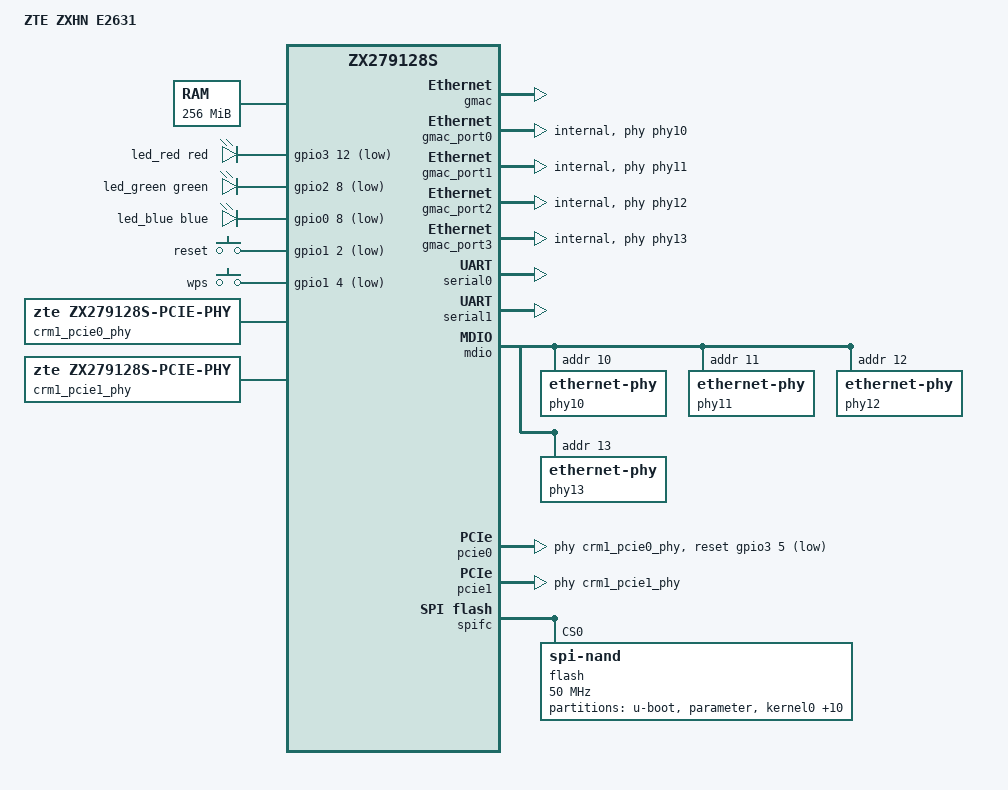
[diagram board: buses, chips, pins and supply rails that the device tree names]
// SPDX-License-Identifier: GPL-2.0-only OR BSD-2-Clause
/*
 * ZTE ZXHN E2631 (a.k.a. 巡天 AX3000): dual-band Wi-Fi 6 router on the
 * Sanechips ZX279128(S/R) SoC, 256 MiB DDR, 128 MiB SPI NAND, one WAN and
 * three LAN ports, all served by the four integrated GbE PHYs.
 *
 * Hardware facts below were read off a live board (2026-10-13) and are marked
 * with where they came from. Values still needing confirmation on first boot
 * are called out in comments - do not treat them as measured.
 */

/dts-v1/;

#include "zte/zx279128s.dtsi"
#include <dt-bindings/gpio/gpio.h>
#include <dt-bindings/input/input.h>
#include <dt-bindings/leds/common.h>

/ {
	model = "ZTE ZXHN E2631";
	compatible = "zte,zxhn-e2631", "zte,zx279128s";

	aliases {
		ethernet0 = &gmac;
		serial0 = &serial0;
		serial1 = &serial1;
		led-boot = &led_red;
		led-failsafe = &led_red;
		led-running = &led_green;
		led-upgrade = &led_blue;
	};

	chosen {
		stdout-path = "serial0:115200n8";
	};

	memory@40000000 {
		device_type = "memory";
		/* /proc/capability/boardtype: totalram 256M; vendor cmdline mem=256M */
		reg = <0x40000000 0x10000000>;
	};


	leds {
		compatible = "gpio-leds";

		/*
		 * One tri-colour lamp, three channels, on flat GPIO 8 / 40 / 60
		 * (/proc/zte/ledkey_m/led LedId 0x32 / 0x64 / 0x128; flat =
		 * controller*16 + line, six banks of 16 lines, bases 512..592 confirmed in
		 * our own kernel).
		 *
		 * The colours were measured, not inferred: each channel was blinked on its
		 * own for twelve seconds with this image running while the panel was
		 * watched. 40 came out green, 60 a warm yellow-green (the red die, with the
		 * strong green bleeding through the diffuser), 8 cyan-blue:
		 *
		 *   flat 40 = green    flat 60 = red    flat 8 = blue
		 *
		 * All three are active-low. Writing brightness=1 to the green channel left
		 * the panel dark, and the other two lit while the LED class held them low,
		 * which also matches the sibling H3600 (eleven LEDs, all active-low). The
		 * vendor's CurrentOnOff column is its own logical state, not a pin level -
		 * and levels cannot be read back to check, because reading these bank
		 * registers from the vendor system hangs the SoC and the watchdog reboots
		 * the box (measured 2026-10-13).
		 *
		 * What the stock firmware does with them, from its manual:
		 *   red   solid = up but no internet,  blinking = booting or faulty
		 *   green solid = internet up,         blinking = WPS/MESH key pressed
		 *   blue  solid = MESH satellite, weak signal
		 *   all three blinking = software upgrade
		 * The aliases below keep the boot/fault meaning intact, and differ where it
		 * is useful: procd runs a slow heartbeat on green once the system is up
		 * (stock shows solid green) and an upgrade blinks blue alone instead of all
		 * three, so the two systems are tellable at a glance.
		 */
		led_red: led-red {
			color = <LED_COLOR_ID_RED>;
			function = LED_FUNCTION_STATUS;
			gpios = <&gpio3 12 GPIO_ACTIVE_LOW>;
			default-state = "off";
		};

		led_green: led-green {
			color = <LED_COLOR_ID_GREEN>;
			function = LED_FUNCTION_WAN_ONLINE;
			gpios = <&gpio2 8 GPIO_ACTIVE_LOW>;
			default-state = "off";
		};

		led_blue: led-blue {
			color = <LED_COLOR_ID_BLUE>;
			function = LED_FUNCTION_STATUS;
			gpios = <&gpio0 8 GPIO_ACTIVE_LOW>;
			default-state = "off";
		};
	};

	keys {
		/* Polled on purpose: the ZTE GPIO IRQ chip is unvalidated on this
		 * family and a gpio-keys irq-mode probe locked the H3600 up.
		 * Vendor key table (/proc/zte/ledkey_m/key): flat GPIO 18 and 20.
		 */
		compatible = "gpio-keys-polled";
		poll-interval = <50>;

		key-reset {
			label = "reset";
			gpios = <&gpio1 2 GPIO_ACTIVE_LOW>;
			linux,code = <KEY_RESTART>;
		};

		key-wps {
			label = "wps";
			gpios = <&gpio1 4 GPIO_ACTIVE_LOW>;
			linux,code = <KEY_WPS_BUTTON>;
		};
	};
};

/*
 * Port mapping read from the running vendor system,
 * /proc/capability/ethernetmac (PhyMnf "ZTE" on all four => no external PHY,
 * unlike the H3600 which hangs its WAN off a ZX5201 at MDIO address 8):
 *
 *   eth0 -> switch port 3   not in br0, PROMISC uplink  = WAN
 *   eth1 -> switch port 2   in br0                      = LAN
 *   eth2 -> switch port 1   in br0                      = LAN
 *   eth3 -> switch port 0   in br0                      = LAN
 *
 * The MDIO addresses of the four integrated PHYs are taken from the H3600
 * board file (0xa..0xd) and are UNVERIFIED on this board. Confirm on first
 * boot from our own kernel - "ls /sys/bus/mdio_bus/devices" must show
 * 0-000a..0-000d, and each must report the sanechips GbPHY id - before this
 * ships. Never probe MDIO by poking the controller under the vendor system:
 * writing CMD/STATUS there reset the board within seconds.
 */
&gmac {
	status = "okay";
};

/*
 * The gmac driver takes each port's MAC from its own node (it calls
 * of_get_mac_address() per port, zx279128s-main.c:1236) and nothing referenced
 * the nvmem cell below, so without these four lines every port boots with a new
 * random locally-administered address.
 *
 * The cell is the same one the vendor uses: tag + 0x1e read out of a dump of
 * that partition is f8:73:1a:d3:ef:a8, and on the running vendor system that one
 * address is what br0, eth0 and eth1..eth3 all report. The vendor therefore uses
 * a single MAC for every port; the upstream H3600 board file hands base+0 to the
 * LAN ports and base+1 to the WAN, and that is what is done here, because two
 * interfaces on one bridge with one address is a recipe for a flapping network.
 */
&gmac_port0 {
	label = "lan3";
	phy-handle = <&phy10>;
	phy-mode = "internal";
	nvmem-cells = <&macaddr_tag_1e 0>;
	nvmem-cell-names = "mac-address";
	status = "okay";
};

&gmac_port1 {
	label = "lan2";
	phy-handle = <&phy11>;
	phy-mode = "internal";
	nvmem-cells = <&macaddr_tag_1e 0>;
	nvmem-cell-names = "mac-address";
	status = "okay";
};

&gmac_port2 {
	label = "lan1";
	phy-handle = <&phy12>;
	phy-mode = "internal";
	nvmem-cells = <&macaddr_tag_1e 0>;
	nvmem-cell-names = "mac-address";
	status = "okay";
};

&gmac_port3 {
	label = "wan";
	phy-handle = <&phy13>;
	phy-mode = "internal";
	nvmem-cells = <&macaddr_tag_1e 1>;
	nvmem-cell-names = "mac-address";
	status = "okay";
};

/* Only four ports are wired on this board; the SoC offers a fifth. */
&gmac_port4 {
	status = "disabled";
};

/*
 * The SoC include ships both UARTs with status = "disabled", and the aliases +
 * chosen/stdout-path above do NOT enable them - they only name them. Without
 * these two lines there is no ttyAMA0 at all, so the forced
 * "console=ttyAMA0,115200n8" points at a device that never exists and the
 * kernel goes silent the moment U-Boot says "Starting kernel ..." (measured:
 * the first boot printed nothing on the TTL pin and logged
 * "Warning: unable to open an initial console"). The carrier firmware for this
 * family enables both as well.
 */
&serial0 {
	status = "okay";
};

&serial1 {
	status = "okay";
};

&mdio {
	status = "okay";

	phy10: ethernet-phy@a {
		reg = <10>;
	};

	phy11: ethernet-phy@b {
		reg = <11>;
	};

	phy12: ethernet-phy@c {
		reg = <12>;
	};

	phy13: ethernet-phy@d {
		reg = <13>;
	};
};

/*
 * MT7916 dual-band Wi-Fi 6 (vendor lsmod: mt7916, out of tree; the calibration
 * file in the "wifi" partition starts with 16 79 = chip id 0x7916 and is the
 * only file there, 0x30000 bytes, mounted by the vendor at /wlan).
 *
 * One package behind both PCIe controllers, as on the H3600, whose vendor
 * driver is the same MediaTek code family. The H3600 board file names the two
 * board lines - reset on &gpio3 5 (active low) and enable on &gpio3 7 (active
 * high) - and drives them once, from pcie0 only, because they reset the whole
 * MT7915/MT7916 rather than one link. host_init's order is: reset asserted 100
 * ms, released, then enable asserted, 200 ms, before the PHY is initialised.
 * Without enable the chip stays powered down, so a missing endpoint looks
 * exactly like a PHY bring-up failure; try that line first.
 */
&pcie0 {
	reset-gpios = <&gpio3 5 GPIO_ACTIVE_LOW>;
	enable-gpios = <&gpio3 7 GPIO_ACTIVE_HIGH>;
	phys = <&crm1_pcie0_phy>;
	phy-names = "pcie";
	status = "okay";
};

&pcie1 {
	phys = <&crm1_pcie1_phy>;
	phy-names = "pcie";
	status = "okay";
};

/*
 * Why the two PCIe PHYs and the reboot node live here and not where the SoC
 * include puts them - measured on the first boot of this board:
 *
 * clk-zx279128s.c registers "zte,zx279128s-topcrm" with CLK_OF_DECLARE, so
 * of_clk_init() claims /soc/clock-controller@94000000 during early boot and
 * marks it OF_POPULATED. of_platform_bus_create() bails on an OF_POPULATED node
 * *before* descending, so no struct device is ever created for topcrm and none of
 * its children are instantiated. Observed consequence:
 *
 *   /sys/bus/platform/drivers/zx279128s-pcie-phy  -> no device, /sys/class/phy empty
 *   /sys/kernel/debug/devices_deferred -> f000000.pcie "failed to get pcie phy"
 *                                          f100000.pcie "failed to get pcie phy"
 *   /sys/bus/platform/drivers/syscon-reboot       -> no device, so no restart handler
 *
 * i.e. no Wi-Fi and no way to reboot in software. The same trick is used upstream
 * for other ZTE SoCs: give the block a second handle that /soc can populate. The
 * syscon driver binds it ("syscon"), the bus walk descends ("simple-mfd"), and
 * both drivers here find their register range through their parent device's node
 * (syscon_node_to_regmap(dev->parent->of_node)), which is this one.
 *
 * /soc carries no label in the SoC file, so this merges by path instead.
 */
/ {
	soc {
		crm1: syscon@94000000 {
			compatible = "syscon", "simple-mfd";
			reg = <0x94000000 0x1000>;
			#address-cells = <1>;
			#size-cells = <0>;

			reboot {
				compatible = "syscon-reboot";
				offset = <0x44>;
				mask = <0x1>;
				value = <0x1>;
			};

			crm1_pcie0_phy: phy@0 {
				compatible = "zte,zx279128s-pcie-phy";
				reg = <0>;
				#phy-cells = <0>;
			};

			crm1_pcie1_phy: phy@1 {
				compatible = "zte,zx279128s-pcie-phy";
				reg = <1>;
				#phy-cells = <0>;
			};
		};
	};
};

/* No USB on this board: the vendor kernel ships "# CONFIG USB is not set" and
 * on some E2631 units the controller is not populated at all - probing it
 * hangs the SoC and the watchdog reboots. Leave both nodes disabled.
 */
&usb {
	status = "disabled";
};

&spifc {
	status = "okay";

	flash@0 {
		compatible = "spi-nand";
		reg = <0>;
		spi-max-frequency = <50000000>;
		spi-rx-bus-width = <2>;
		spi-tx-bus-width = <1>;

		/* HYF1GQ4UTACAE: 128 MiB, 2 KiB pages, 128 KiB erase blocks */
		partitions {
    		compatible = "fixed-partitions";
    		#address-cells = <1>;
    		#size-cells = <1>;

    		partition@0 {
        		label = "u-boot";
        		reg = <0x000000 0x200000>;
        		read-only;
    		};

    		partition@200000 {
        		label = "parameter";
        		reg = <0x200000 0x400000>;
    		};

    		partition@600000 {
        		label = "kernel0";
        		reg = <0x600000 0x2000000>;
    		};

    		partition@2600000 {
        		label = "middleware";
        		reg = <0x2600000 0x400000>;
    		};

    		partition@2a00000 {
        		label = "usercfg";
        		reg = <0x2a00000 0x800000>;
    		};

    		partition@3200000 {
        		label = "kernel1";
        		reg = <0x3200000 0x2000000>;
    		};

    		partition@5200000 {
        		label = "others";
        		reg = <0x5200000 0x600000>;
    		};

    		partition@5800000 {
        		label = "wlan";
        		reg = <0x5800000 0x400000>;
    		};

    		partition@5c00000 {
        		label = "phoneapp";
        		reg = <0x5c00000 0x200000>;
    		};

    		partition@5e00000 {
        		label = "osgi";
        		reg = <0x5e00000 0x1e00000>;
    		};

    		partition@7c00000 {
        		label = "plugin_data";
        		reg = <0x7c00000 0x6400000>;
    		};

    		partition@e000000 {
        		label = "osgi1";
        		reg = <0xe000000 0x1e00000>;
    		};

    		partition@fe00000 {
        		label = "phoneapp1";
        		reg = <0xfe00000 0x200000>;
    		};
		};
	};
};

/* Serialize PL310 cache maintenance with protected PCIe MMIO reads; the
 * option and the DTS flag both come from the base tree (patch 004/005,
 * CONFIG_CACHE_L2X0_IO_LOCK=y is already in the target config).  Confirmed
 * live by tigaotg: "L2C: serializing device reads with maintenance
 * operations" on the console.
 */
&l2cc {
	zte,l2c-io-read-lock;
};
